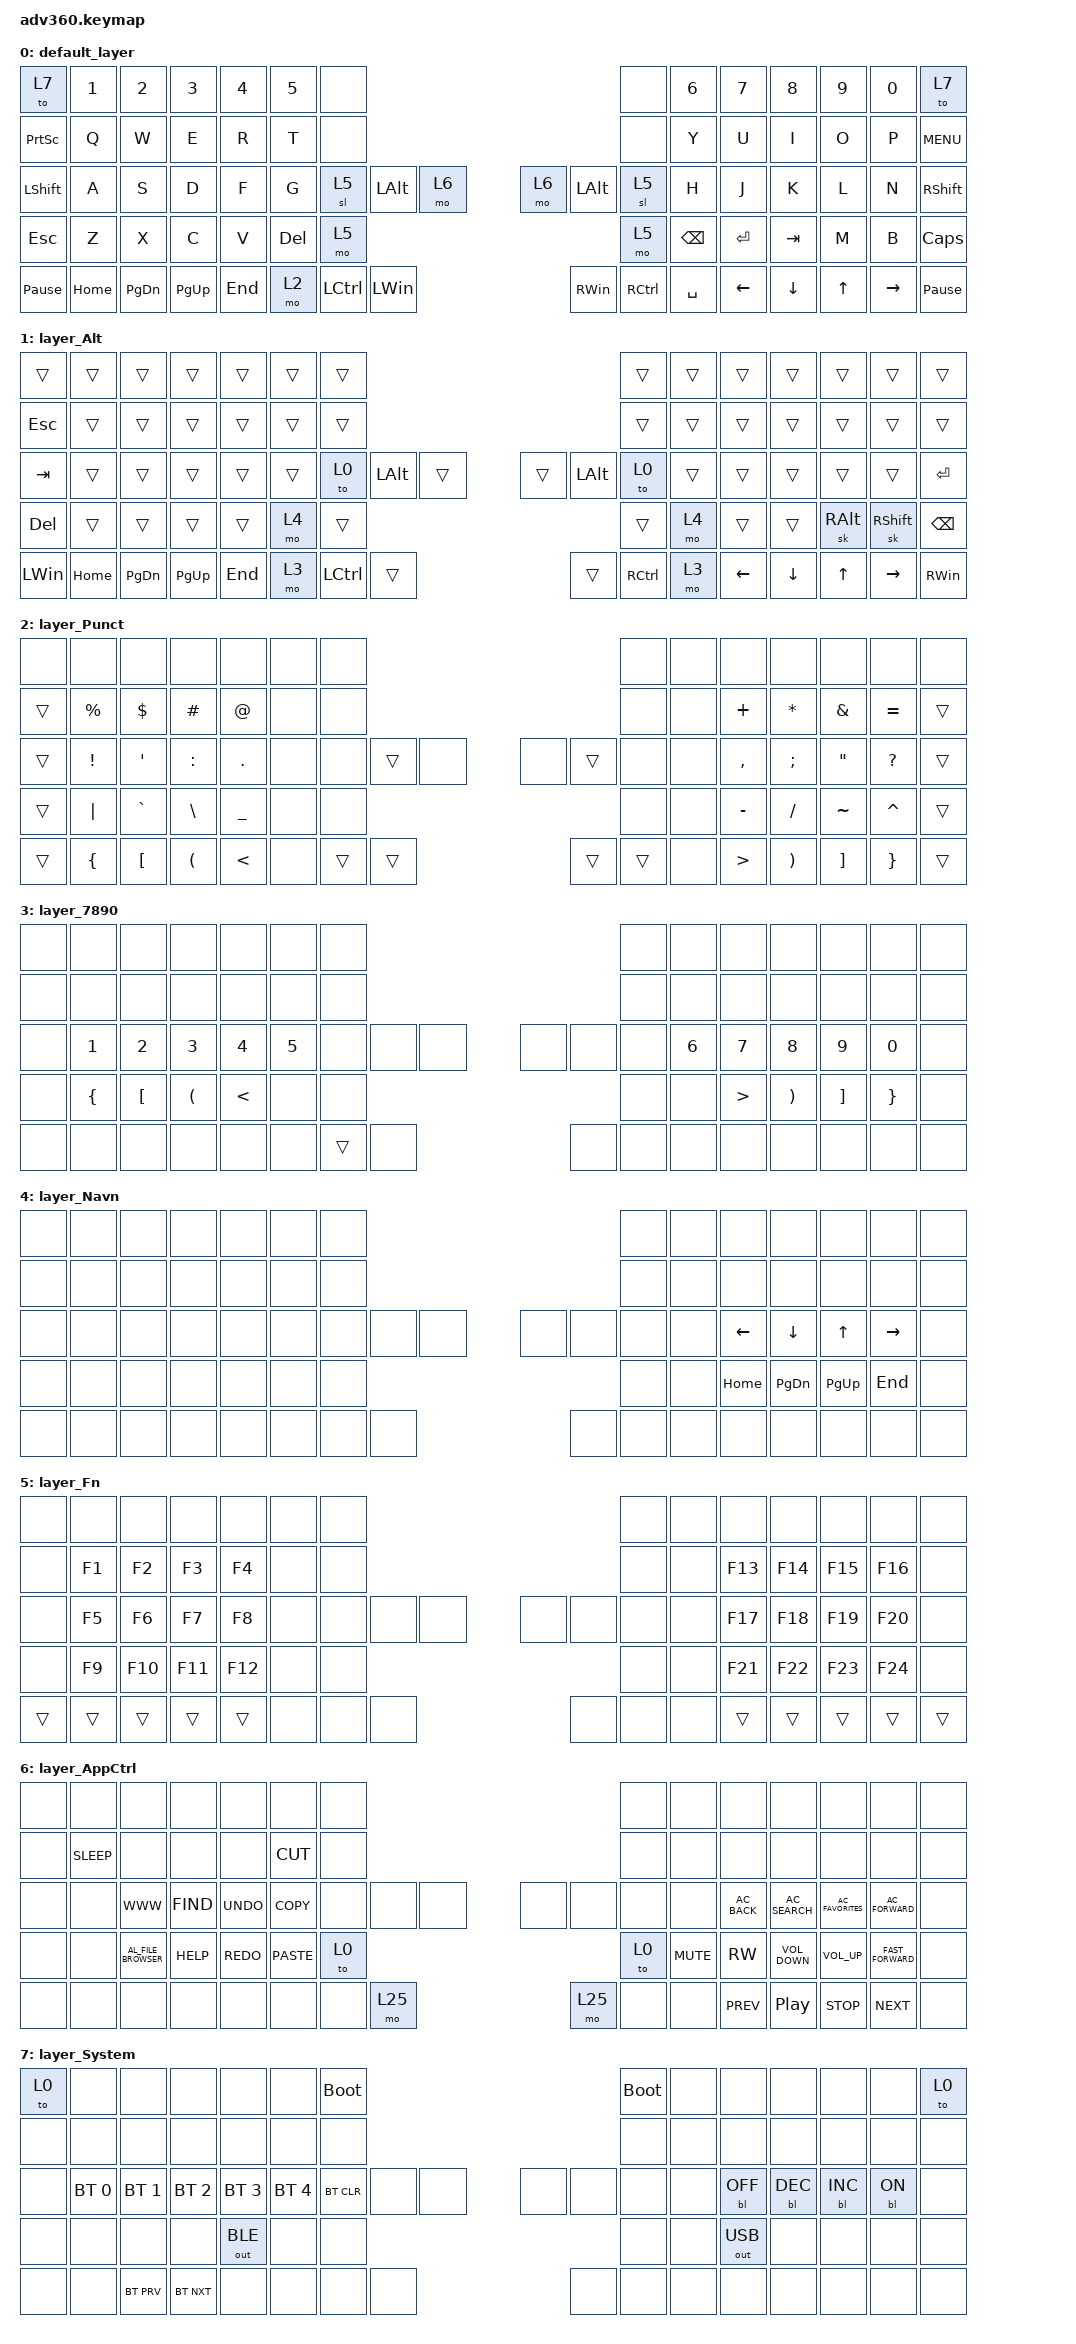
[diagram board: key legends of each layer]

/*
 * Copyright (c) 2020 The ZMK Contributors
 *
 * SPDX-License-Identifier: MIT
 */


/* THIS FILE WAS GENERATED!
 *
 * This file was generated automatically. You may or may not want to
 * edit it directly.
 */

#include <behaviors.dtsi>
#include <dt-bindings/zmk/keys.h>
#include <dt-bindings/zmk/bt.h>
#include <dt-bindings/zmk/backlight.h>
#include <dt-bindings/zmk/outputs.h>

/ {
  behaviors {
    #include "macros.dtsi"
    #include "version.dtsi"

    hm: homerow_mods {
        compatible = "zmk,behavior-hold-tap";
        label = "HOMEROW_MODS";
        #binding-cells = <2>;
        tapping-term-ms = <200>;
        quick_tap_ms = <175>;
        flavor = "tap-preferred";
        bindings = <&kp>, <&kp>;
    };
  };

    keymap {
        compatible = "zmk,keymap";


        default_layer {
            bindings = <
           &to 7    &kp N1         &kp N2     &kp N3   &kp N4   &kp N5            &none                                                                                   &none         &kp N6     &kp N7    &kp N8  &kp N9     &kp N0            &to 7
       &kp PSCRN     &kp Q          &kp W      &kp E    &kp R    &kp T            &none                                                                                   &none          &kp Y      &kp U     &kp I   &kp O      &kp P       &kp K_MENU
       &kp LSHFT     &kp A          &kp S      &kp D    &kp F    &kp G            &sl 5          &kp LALT         &mo 6                          &mo 6  &kp LEFT_ALT      &sl 5          &kp H      &kp J     &kp K   &kp L      &kp N        &kp RSHFT
      &kp ESCAPE     &kp Z          &kp X      &kp C    &kp V  &kp DEL                                            &mo 5                          &mo 5                           &kp BACKSPACE  &kp ENTER   &kp TAB   &kp M      &kp B     &kp CAPSLOCK
 &kp PAUSE_BREAK  &kp HOME  &kp PAGE_DOWN  &kp PG_UP  &kp END                     &mo 2  &kp LEFT_CONTROL  &kp LEFT_WIN                  &kp RIGHT_WIN     &kp RCTRL  &kp SPACE                  &kp LEFT  &kp DOWN  &kp UP  &kp RIGHT  &kp PAUSE_BREAK
            >;
        };

        layer_Alt {
            bindings = <
     &trans    &trans     &trans     &trans   &trans  &trans            &trans                                                                  &trans  &trans    &trans    &trans         &trans     &trans         &trans
    &kp ESC    &trans     &trans     &trans   &trans  &trans            &trans                                                                  &trans  &trans    &trans    &trans         &trans     &trans         &trans
    &kp TAB    &trans     &trans     &trans   &trans  &trans             &to 0      &kp LEFT_ALT  &trans                  &trans  &kp LEFT_ALT   &to 0  &trans    &trans    &trans         &trans     &trans      &kp ENTER
 &kp DELETE    &trans     &trans     &trans   &trans   &mo 4                                      &trans                  &trans                         &mo 4    &trans    &trans  &sk RIGHT_ALT  &sk RSHFT  &kp BACKSPACE
   &kp LWIN  &kp HOME  &kp PG_DN  &kp PG_UP  &kp END                     &mo 3  &kp LEFT_CONTROL  &trans                  &trans     &kp RCTRL   &mo 3          &kp LEFT  &kp DOWN         &kp UP  &kp RIGHT       &kp RWIN
            >;
        };

        layer_Punct {
            bindings = <
  &none            &none             &none                 &none       &none   &none            &none                                                   &none   &none             &none                  &none              &none            &none   &none
 &trans      &kp PERCENT        &kp DOLLAR              &kp HASH      &kp AT   &none            &none                                                   &none   &none          &kp PLUS               &kp STAR           &kp AMPS        &kp EQUAL  &trans
 &trans  &kp EXCLAMATION  &kp SINGLE_QUOTE             &kp COLON  &kp PERIOD   &none            &none  &trans   &none                   &none  &trans   &none   &none         &kp COMMA               &kp SEMI  &kp DOUBLE_QUOTES     &kp QUESTION  &trans
 &trans         &kp PIPE         &kp GRAVE         &kp BACKSLASH   &kp UNDER   &none                            &none                   &none                   &none         &kp MINUS              &kp SLASH          &kp TILDE        &kp CARET  &trans
 &trans   &kp LEFT_BRACE  &kp LEFT_BRACKET  &kp LEFT_PARENTHESIS      &kp LT                    &none  &trans  &trans                  &trans  &trans   &none          &kp GREATER_THAN  &kp RIGHT_PARENTHESIS  &kp RIGHT_BRACKET  &kp RIGHT_BRACE  &trans
            >;
        };

        layer_7890 {
            bindings = <
  &none           &none             &none                 &none          &none   &none            &none                                                   &none   &none             &none                  &none              &none            &none   &none
  &none           &none             &none                 &none          &none   &none            &none                                                   &none   &none             &none                  &none              &none            &none   &none
  &none    &kp NUMBER_1      &kp NUMBER_2          &kp NUMBER_3   &kp NUMBER_4  &kp N5            &none   &none   &none                   &none   &none   &none  &kp N6            &kp N7                 &kp N8             &kp N9           &kp N0   &none
  &none  &kp LEFT_BRACE  &kp LEFT_BRACKET  &kp LEFT_PARENTHESIS  &kp LESS_THAN   &none                            &none                   &none                   &none  &kp GREATER_THAN  &kp RIGHT_PARENTHESIS  &kp RIGHT_BRACKET  &kp RIGHT_BRACE   &none
  &none           &none             &none                 &none          &none                    &none  &trans   &none                   &none   &none   &none                     &none                  &none              &none            &none   &none
            >;
        };

        layer_Navn {
            bindings = <
  &none   &none   &none   &none   &none   &none            &none                                                   &none   &none     &none      &none      &none      &none   &none
  &none   &none   &none   &none   &none   &none            &none                                                   &none   &none     &none      &none      &none      &none   &none
  &none   &none   &none   &none   &none   &none            &none   &none   &none                   &none   &none   &none   &none  &kp LEFT   &kp DOWN     &kp UP  &kp RIGHT   &none
  &none   &none   &none   &none   &none   &none                            &none                   &none                   &none  &kp HOME  &kp PG_DN  &kp PG_UP    &kp END   &none
  &none   &none   &none   &none   &none                    &none   &none   &none                   &none   &none   &none             &none      &none      &none      &none   &none
            >;
        };

        layer_Fn {
            bindings = <
  &none   &none    &none    &none    &none   &none            &none                                                   &none   &none    &none    &none    &none    &none   &none
  &none  &kp F1   &kp F2   &kp F3   &kp F4   &none            &none                                                   &none   &none  &kp F13  &kp F14  &kp F15  &kp F16   &none
  &none  &kp F5   &kp F6   &kp F7   &kp F8   &none            &none   &none   &none                   &none   &none   &none   &none  &kp F17  &kp F18  &kp F19  &kp F20   &none
  &none  &kp F9  &kp F10  &kp F11  &kp F12   &none                            &none                   &none                   &none  &kp F21  &kp F22  &kp F23  &kp F24   &none
 &trans  &trans   &trans   &trans   &trans                    &none   &none   &none                   &none   &none   &none           &trans   &trans   &trans   &trans  &trans
            >;
        };

        layer_AppCtrl {
            bindings = <
  &none        &none                  &none       &none       &none        &none            &none                                                   &none       &none          &none              &none               &none               &none   &none
  &none  &kp K_SLEEP                  &none       &none       &none    &kp K_CUT            &none                                                   &none       &none          &none              &none               &none               &none   &none
  &none        &none              &kp K_WWW  &kp K_FIND  &kp K_UNDO   &kp K_COPY            &none   &none   &none                   &none   &none   &none       &none  &kp C_AC_BACK    &kp C_AC_SEARCH  &kp C_AC_FAVORITES    &kp C_AC_FORWARD   &none
  &none        &none  &kp C_AL_FILE_BROWSER  &kp K_HELP  &kp K_REDO  &kp K_PASTE                            &to 0                   &to 0                  &kp C_MUTE       &kp C_RW  &kp C_VOLUME_DOWN        &kp C_VOL_UP  &kp C_FAST_FORWARD   &none
  &none        &none                  &none       &none       &none                         &none   &none  &mo 25                  &mo 25   &none   &none                 &kp C_PREV   &kp C_PLAY_PAUSE          &kp C_STOP          &kp C_NEXT   &none
            >;
        };

        layer_System {
            bindings = <
  &to 0         &none         &none         &none         &none         &none            &bootloader                                                  &bootloader   &none         &none       &none       &none      &none   &to 0
  &none         &none         &none         &none         &none         &none                  &none                                                        &none   &none         &none       &none       &none      &none   &none
  &none  &bt BT_SEL 0  &bt BT_SEL 1  &bt BT_SEL 2  &bt BT_SEL 3  &bt BT_SEL 4             &bt BT_CLR   &none   &none                   &none   &none        &none   &none    &bl BL_OFF  &bl BL_DEC  &bl BL_INC  &bl BL_ON   &none
  &none         &none         &none         &none  &out OUT_BLE         &none                                  &none                   &none                        &none  &out OUT_USB       &none       &none      &none   &none
  &none         &none    &bt BT_PRV    &bt BT_NXT         &none                                &none   &none   &none                   &none   &none        &none                 &none       &none       &none      &none   &none
            >;
        };

    };
};
